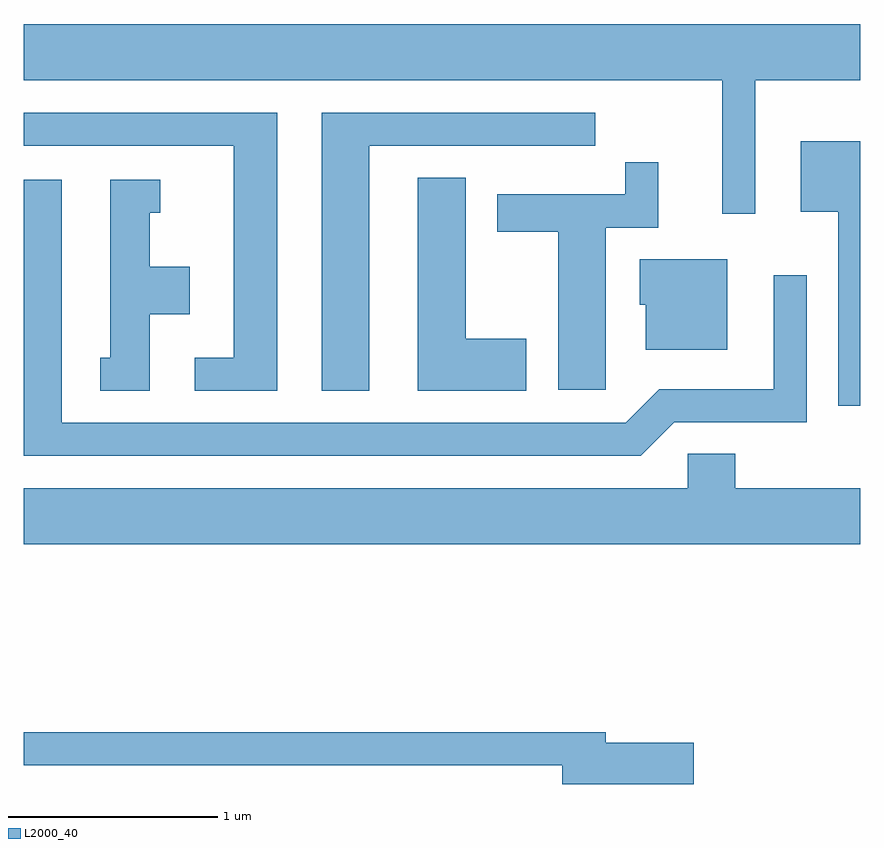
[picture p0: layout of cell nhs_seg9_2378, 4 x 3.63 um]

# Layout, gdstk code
import gdstk
lib = gdstk.Library(unit=1e-6, precision=1e-09)
def P(c, l, *ps):  # polygons
    for p in ps: c.add(gdstk.Polygon(p, *l))
L2000_40 = (2000, 40)

nhs_seg9_2378 = lib.new_cell('nhs_seg9_2378')
P(nhs_seg9_2378, L2000_40, [(259.109,1951.856),(259.611,1951.856),(259.611,1952.124),(255.611,1952.124),(255.611,1951.856),(258.951,1951.856),(258.951,1951.218),(259.109,1951.218)],
  [(256.824,1951.699),(255.611,1951.699),(255.611,1951.541),(256.616,1951.541),(256.616,1950.529),(256.428,1950.529),(256.428,1950.371),(256.824,1950.371)],
  [(257.264,1951.541),(258.343,1951.541),(258.343,1951.699),(257.036,1951.699),(257.036,1950.371),(257.264,1950.371)],
  [(259.611,1951.564),(259.326,1951.564),(259.326,1951.226),(259.506,1951.226),(259.506,1950.298),(259.611,1950.298)],
  [(258.394,1951.151),(258.644,1951.151),(258.644,1951.463),(258.486,1951.463),(258.486,1951.309),(257.876,1951.309),(257.876,1951.131),(258.166,1951.131),(258.166,1950.376),(258.394,1950.376)],
  [(258.014,1950.619),(257.724,1950.619),(257.724,1951.389),(257.496,1951.389),(257.496,1950.371),(258.014,1950.371)],
  [(256.214,1950.736),(256.404,1950.736),(256.404,1950.964),(256.214,1950.964),(256.214,1951.221),(256.263,1951.221),(256.263,1951.379),(256.026,1951.379),(256.026,1950.529),(255.978,1950.529),(255.978,1950.371),(256.214,1950.371)],
  [(258.722,1950.221),(259.354,1950.221),(259.354,1950.923),(259.196,1950.923),(259.196,1950.379),(258.649,1950.379),(258.489,1950.219),(255.794,1950.219),(255.794,1951.379),(255.611,1951.379),(255.611,1950.061),(258.562,1950.061)],
  [(258.974,1950.999),(258.556,1950.999),(258.556,1950.781),(258.586,1950.781),(258.586,1950.566),(258.974,1950.566)],
  [(259.611,1949.904),(259.014,1949.904),(259.014,1950.069),(258.786,1950.069),(258.786,1949.904),(255.611,1949.904),(255.611,1949.636),(259.611,1949.636)],
  [(258.814,1948.689),(258.394,1948.689),(258.394,1948.739),(255.611,1948.739),(255.611,1948.581),(258.186,1948.581),(258.186,1948.491),(258.814,1948.491)])

lib.write_gds('nhs_seg9_2378.gds')
